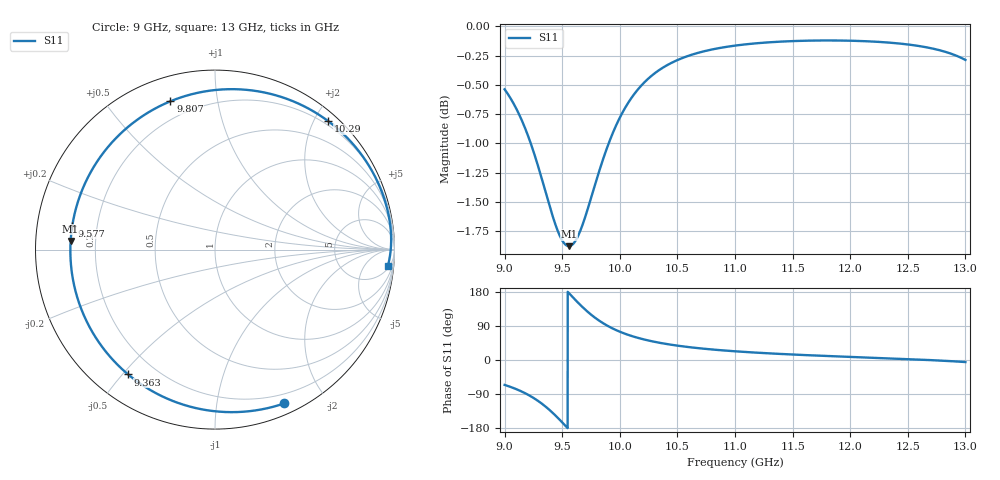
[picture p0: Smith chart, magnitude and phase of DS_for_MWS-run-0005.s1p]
! TOUCHSTONE file generated by CST DESIGN STUDIO
! Date and time: Tue Feb  4 18:24:21 2025
! Project name: C:\Work\MatlabApps\UnitCellOptimizationMatlab\CST\unitcell.cst
! Tree item: Tasks\Sweep1\SPara1\S-Parameters
! Header version: 2024
! Port assignment regex: !\s*Touchstone port\s*([0-9]+)\s*=\s*(CST MWS port|CST DES external port|CST DES block port)\s*(.+)\s* \(\"(.*)\"\)(\s*mode\s*([0-9]+))?.*
! Touchstone port assignment:
! Touchstone port 1 = CST DES external port 1 ("")
# GHz S MA R 50
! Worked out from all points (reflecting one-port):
!   4001 points, 9 GHz to 13 GHz, reference 50 ohm
!   lowest |S11| = -1.9 dB at 9.558 GHz (marker M1), VSWR 9.30, Z = 5.38 + j1.46 ohm
!   phase of S11 starts at -66 deg and turns -300 deg over the sweep
!   S11 on the Smith chart (normalised r, x): 9 GHz: 0.10, -1.54; 9.363 GHz: 0.11, -0.52; 9.577 GHz: 0.11, +0.08; 9.807 GHz: 0.11, +0.74; 10.29 GHz: 0.14, +2.20; 13 GHz: 7, -19
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9  0.9399 -65.7
9.038  0.9339 -69.6
9.103  0.9219 -77.1
9.215  0.8947 -93.6
9.293  0.8708 -108.5
9.363  0.8473 -124.8
9.428  0.8267 -142.5
9.465  0.817 -153.6
9.5  0.8103 -164.6
9.558  0.8058 176.6
9.577  0.8062 170.4
9.632  0.8128 152.9
9.696  0.8282 134.0
9.75  0.8446 119.8
9.807  0.8629 106.7
9.848  0.8756 98.4
9.893  0.8885 90.3
10  0.9141 74.7
10.066  0.9264 67.1
10.135  0.9369 60.3
10.29  0.9537 48.7
10.5  0.9673 37.9
10.721  0.9754 30.0
11  0.9811 23.0
11.5  0.9855 14.4
12  0.9858 8.2
12.5  0.9822 2.3
13  0.9674 -5.4
